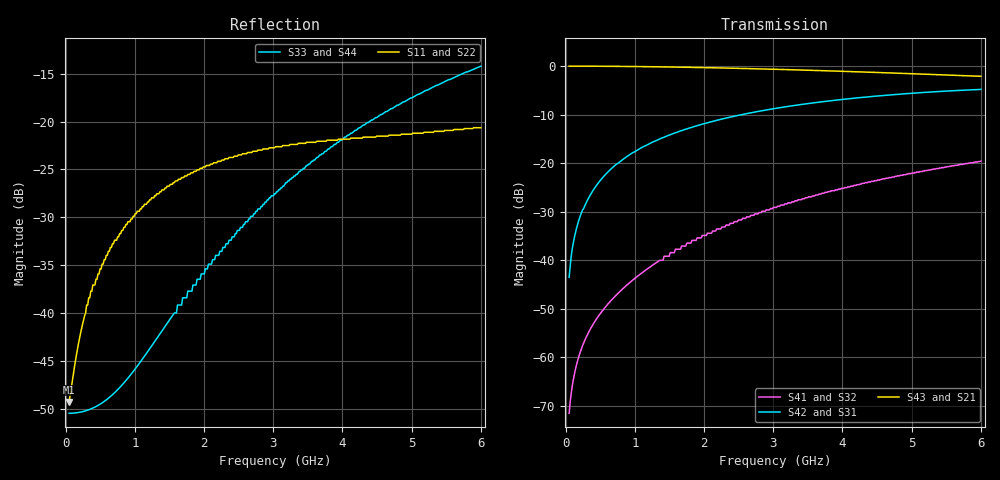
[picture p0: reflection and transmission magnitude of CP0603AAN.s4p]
!	AVX THIN FILM OPERATION
!	CP0603 HIGH DIRECTIVITY COUPLERS
!	P/N CP0603AxxxxALTR
!	Network	Analyzer HP8720ES.07.64:Feb23,2000 Serial No.US39172382
!	Hewlett-Packard
!	24 July 2003	02:45:57
# MHZ S MA R 50
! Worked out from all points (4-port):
!   400 points, 50 MHz to 6 GHz, reference 50 ohm
!   strongest paths, dB at 50 MHz, 1.541 GHz, 3.032 GHz, 4.524 GHz, 6 GHz:
!     S43: 0.0, -0.2, -0.7, -1.3, -2.1
!     S21: 0.0, -0.2, -0.7, -1.3, -1.9
!     S42: -43.5, -14.0, -8.7, -6.1, -4.8
!     S31: -43.5, -14.0, -8.7, -6.1, -4.8
!     S41: -71.5, -38.4, -29.1, -23.5, -19.6
!     S32: -71.5, -38.4, -29.1, -23.5, -19.6
!   lowest |S11| = -49.3 dB at 50 MHz (marker M1), VSWR 1.01, Z = 50.3 - j0.173 ohm
!   |S11| at or under -10 dB: start of sweep to end of sweep
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50  0.003429 -30.0  0.997 -0.6  0.00667 89.3  0.0002654 -88.8
    0.997 -0.6  0.003429 -30.0  0.0002654 -88.8  0.00667 89.3
    0.00667 89.3  0.0002654 -88.8  0.002988 1.3  0.997 -0.7
    0.0002654 -88.8  0.00667 89.3  0.997 -0.7  0.002988 1.3
94.737  0.004369 -48.1  0.997 -1.2  0.013 88.7  0.0005038 -88.3
        0.997 -1.2  0.004369 -48.1  0.0005038 -88.3  0.013 88.7
        0.013 88.7  0.0005038 -88.3  0.002992 2.4  0.997 -1.4
        0.0005038 -88.3  0.013 88.7  0.997 -1.4  0.002992 2.4
184.211  0.006881 -66.5  0.997 -2.3  0.025 87.5  0.0009864 -87.5
         0.997 -2.3  0.006881 -66.5  0.0009864 -87.5  0.025 87.5
         0.025 87.5  0.0009864 -87.5  0.003017 4.8  0.997 -2.6
         0.0009864 -87.5  0.025 87.5  0.997 -2.6  0.003017 4.8
452.632  0.015 -84.0  0.995 -5.5  0.06 84.0  0.002529 -85.4
         0.995 -5.5  0.015 -84.0  0.002529 -85.4  0.06 84.0
         0.06 84.0  0.002529 -85.4  0.003263 12.8  0.995 -6.5
         0.002529 -85.4  0.06 84.0  0.995 -6.5  0.003263 12.8
1585.965  0.049 -102.9  0.974 -19.1  0.205 69.3  0.013 -90.2
          0.974 -19.1  0.049 -102.9  0.013 -90.2  0.205 69.3
          0.205 69.3  0.013 -90.2  0.01 36.7  0.975 -22.5
          0.013 -90.2  0.205 69.3  0.975 -22.5  0.01 36.7
3375.439  0.077 -113.5  0.909 -39.2  0.399 47.2  0.042 -124.9
          0.909 -39.2  0.077 -113.5  0.042 -124.9  0.399 47.2
          0.399 47.2  0.042 -124.9  0.055 21.0  0.911 -46.8
          0.042 -124.9  0.399 47.2  0.911 -46.8  0.055 21.0
6000  0.093 -104.0  0.802 -64.1  0.575 17.0  0.105 173.9
      0.802 -64.1  0.093 -104.0  0.105 173.9  0.575 17.0
      0.575 17.0  0.105 173.9  0.195 -11.9  0.784 -80.0
      0.105 173.9  0.575 17.0  0.784 -80.0  0.195 -11.9
